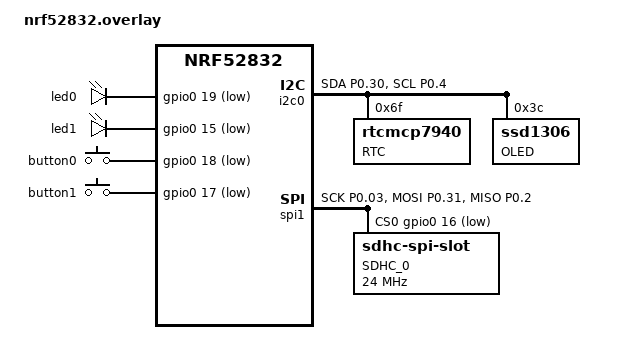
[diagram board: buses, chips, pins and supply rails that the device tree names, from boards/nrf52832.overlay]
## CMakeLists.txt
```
# SPDX-License-Identifier: Apache-2.0

cmake_minimum_required(VERSION 3.20.0)

# Add our modules directory to Zephyr Modules
list(APPEND ZEPHYR_EXTRA_MODULES ${CMAKE_CURRENT_SOURCE_DIR}/modules)


# Set project, dts and board directories
set(PROJ_ROOT ${CMAKE_CURRENT_SOURCE_DIR}/)
set(DTS_ROOT ${CMAKE_CURRENT_SOURCE_DIR}/dts)
set(BOARD_ROOT ${CMAKE_CURRENT_LIST_DIR})


find_package(Zephyr REQUIRED HINTS $ENV{ZEPHYR_BASE})
project(RelaySwitching)

target_sources(app PRIVATE 
src/main.c
src/xmodem.c
src/pray2_tests.c
src/sys_flash.c
src/sd_pray2_io.c
)

# Optionally set include paths that every module can see
target_include_directories(app PRIVATE
    ${CMAKE_CURRENT_SOURCE_DIR})
```

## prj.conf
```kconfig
CONFIG_GPIO=y
CONFIG_LOG=n
CONFIG_I2C=y
CONFIG_CRC=y
CONFIG_SERIAL=y
CONFIG_UART_ASYNC_API=y
CONFIG_UART_INTERRUPT_DRIVEN=y



CONFIG_UART_CONSOLE=n
CONFIG_SHELL=n
CONFIG_MCUMGR_TRANSPORT_UART=n

CONFIG_HEAP_MEM_POOL_SIZE=4096
CONFIG_MAIN_STACK_SIZE=4096



CONFIG_SENSOR=y
CONFIG_CUSTOM_RTCMCP7940=y
CONFIG_CUSTOM_SSD1306=y



# internal Flash
CONFIG_FLASH=y
CONFIG_MPU_ALLOW_FLASH_WRITE=y
CONFIG_SOC_FLASH_NRF_EMULATE_ONE_BYTE_WRITE_ACCESS=y
CONFIG_FCB=y
CONFIG_FLASH_MAP=y
CONFIG_SETTINGS=y
CONFIG_SETTINGS_FCB=y


CONFIG_DISK_ACCESS=y
CONFIG_FILE_SYSTEM=y
CONFIG_FAT_FILESYSTEM_ELM=y
CONFIG_FS_FATFS_MOUNT_MKFS=y
CONFIG_FS_FATFS_EXFAT=y
CONFIG_DISK_DRIVER_SDMMC=y
CONFIG_SPI=y
CONFIG_GPIO=y
```

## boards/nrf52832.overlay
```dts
//&chosen {

//};

/ {
    chosen {
        /delete-property/ zephyr,console;
        /delete-property/ zephyr,shell-uart;
        /delete-property/ zephyr,uart-mcumgr;
        /delete-property/ zephyr,bt-mon-uart;
        /delete-property/ zephyr,bt-c2h-uart;
    };
};



&led0 {
    gpios = <&gpio0 19 GPIO_ACTIVE_LOW>;
};

&led1 {
    gpios = <&gpio0 15 GPIO_ACTIVE_LOW>;
};

&button0 {
    gpios = <&gpio0 18 (GPIO_PULL_UP | GPIO_ACTIVE_LOW)>;
};
&button1 {
    gpios = <&gpio0 17 (GPIO_PULL_UP | GPIO_ACTIVE_LOW)>;
};

&pinctrl {
	custom_spi: custom_spi {
		group1 {
		psels = <NRF_PSEL(SPIM_SCK, 0, 03)>,
				<NRF_PSEL(SPIM_MOSI, 0, 31)>,
				<NRF_PSEL(SPIM_MISO, 0, 2)>;
		};
	};


    i2c0_default: i2c0_default {
        group1 {
            psels = <NRF_PSEL(TWIM_SDA, 0, 30)>,
                    <NRF_PSEL(TWIM_SCL, 0, 4)>;
        };
    };

    i2c0_sleep: i2c0_sleep {
        group1 {
            psels = <NRF_PSEL(TWIM_SDA,  0, 30)>, // GPIO P1.2
            <NRF_PSEL(TWIM_SCL, 0, 4)>;    // GPIO P1.3
            low-power-enable;
        };
    };


    uart0_default: uart0_default {
        group1 {
            psels = <NRF_PSEL(UART_TX, 0, 20)>,
                    <NRF_PSEL(UART_RX, 0, 14)>,
                    <NRF_PSEL(UART_RTS, 0, 5)>,
                    <NRF_PSEL(UART_CTS, 0, 7)>;
        };
    };

    uart0_sleep: uart0_sleep {
        group1 {
            psels = <NRF_PSEL(UART_TX, 0, 20)>,
                    <NRF_PSEL(UART_RX, 0, 14)>,
                    <NRF_PSEL(UART_RTS, 0, 5)>,
                    <NRF_PSEL(UART_CTS, 0, 7)>;
            low-power-enable;
        };
    };
};



&i2c0 {
    compatible = "nordic,nrf-twi";
    status = "okay";
    pinctrl-0 = <&i2c0_default>;
    pinctrl-1 = <&i2c0_sleep>;
    pinctrl-names = "default", "sleep";


    rtcmcp7940@6F {
        compatible = "zephyr,rtcmcp7940";
        reg = <0x6F>;
        label = "RTC";
    };

    ssd1306@3C {
        compatible = "zephyr,ssd1306";
        reg = <0x3C>;
        label = "OLED";
    };
};



&spi1 {
	status = "okay";
	cs-gpios = <&gpio0 16 GPIO_ACTIVE_LOW>;
        pinctrl-0 = <&custom_spi>;
        pinctrl-1 = <&custom_spi>;

	sdhc0: sdhc@0 {
		compatible = "zephyr,sdhc-spi-slot";
		reg = <0>;
		status = "okay";
		label = "SDHC_0";
		mmc {
			compatible = "zephyr,sdmmc-disk";
			disk-name = "SD";
			status = "okay";
		};
		spi-max-frequency = <24000000>;
	};

};
```

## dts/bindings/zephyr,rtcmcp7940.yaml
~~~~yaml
# @file rtcmcp7940.yaml
# @brief Device tree binding for Microchip MCP7940 I2C-based RTC.
#
# This binding file defines the configuration for the Microchip MCP7940
# real-time clock (RTC) connected via I2C. It specifies the compatible
# string and includes references to standard I2C device bindings.
#
# @compatible zephyr,rtcmcp7940
# @include i2c-device.yaml
#
# @details
# The MCP7940 RTC binding allows for configuration of its interrupt GPIO pin
# for alarm notifications. The binding leverages the Zephyr I2C framework to
# communicate with the RTC over the I2C bus.
#
# Example Usage:
# ```dts
# rtcmcp7940@6F {
#     compatible = "zephyr,rtcmcp7940";
#     reg = <0x6F>;
#     label = "RTC";
#     int-gpios = <&gpio0 15 GPIO_ACTIVE_LOW>;
# };
# ```
#
# @note Ensure that the I2C bus is enabled in the device tree and the
#       MCP7940 is connected with the appropriate interrupt GPIO configured.
#
# @author Haseeb Zaib
# @contact hzaib76@gmail.com
# @date 2024-12-19


description: Microchip I2C based RTC 

compatible: "zephyr,rtcmcp7940"

include: [ i2c-device.yaml ]


properties: 
  int-gpios:
    type: phandle-array
    description: |
      Host input connect to MCP7940 MFP open drain output pin
      
      Notifies when an alarm has triggered by asserting this line
~~~~

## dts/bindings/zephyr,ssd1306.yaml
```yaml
description: Microchip I2C based RTC 

compatible: "zephyr,ssd1306"

include: [ i2c-device.yaml ]
```

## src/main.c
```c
/*
 * Copyright (c) 2016 Intel Corporation
 *
 * SPDX-License-Identifier: Apache-2.0
 */

#include <stdio.h>
#include <zephyr/kernel.h>
#include <zephyr/drivers/i2c.h>
#include <zephyr/drivers/gpio.h>
#include <zephyr/drivers/uart.h>
#include "RTCmcp7940.h"
#include "ssd1306_fonts.h"
#include "ssd1306.h"
#include "xmodem.h"
#include "sys_flash.h"
#include "pray2_reader.h"
#include "sd_pray2_io.h"
#include <stdbool.h>
#include <stddef.h>
#include <string.h>
#include <ctype.h>
#include <stdint.h>
#include <zephyr/logging/log.h>
LOG_MODULE_REGISTER(app);

extern void run_pray2_tests(void);

/* 1000 msec = 1 sec */
#define SLEEP_TIME_MS 1000

/* The devicetree node identifier for the "led0" alias. */
#define LED0_NODE DT_ALIAS(led0)
/* The devicetree node identifier for the "led0" alias. */
#define LED1_NODE DT_ALIAS(led1)

/* The devicetree node identifier for the "led0" alias. */
#define button1_NODE DT_ALIAS(sw0)
/* The devicetree node identifier for the "led0" alias. */
#define button2_NODE DT_ALIAS(sw1)

/*
 * A build error on this line means your board is unsupported.
 * See the sample documentation for information on how to fix this.
 */
static const struct gpio_dt_spec led = GPIO_DT_SPEC_GET(LED0_NODE, gpios);
static const struct gpio_dt_spec relay = GPIO_DT_SPEC_GET(LED1_NODE, gpios);

static const struct gpio_dt_spec auto_btn = GPIO_DT_SPEC_GET(button1_NODE, gpios);
static const struct gpio_dt_spec manual_btn = GPIO_DT_SPEC_GET(button2_NODE, gpios);

const struct device *uart = DEVICE_DT_GET(DT_NODELABEL(uart0));

const struct device *RTC_MCP;
const struct device *SSD1306;

char buffer[50];
char timebuff[50];
char datebuff[50];

char TxBuffer[100];
char RxBuffer[100];
uint8_t DataBuffer[4 * 1024];
uint8_t DataBuffer_HEX[10];
uint16_t DataBufferTotalSize = sizeof(DataBuffer);
size_t DataBufferTotalSize_ = 0;
char *RxBufferP;
uint32_t RxBufferCounter = 0;
uint32_t RxBufferSize = 0;
uint8_t data = 1;

K_MSGQ_DEFINE(uart_msgq, 1, 10, 4);

#define TIME_STR_LEN 9 /* "HH:MM:SS" + '\0' */
#define DATE_STR_LEN 9 /* "DD/MM/YY" + '\0' */

pray2_sched_t sched;

uint8_t trigger_relay = 0;
uint32_t relay_start_time = 0;
uint32_t relay_timeout_set = 5000;

uint8_t auto_relay_once = 0;
uint8_t manual_auto_config = 0; // manual = 0 auto = 1

const unsigned char startup_image_[] = {
	// 'WhatsApp Image 2025-04-28 at 16, 128x64px
	0xff, 0xff, 0xff, 0xff, 0xff, 0xff, 0xff, 0xff, 0xff, 0xff, 0xff, 0xff, 0xff, 0xff, 0xff, 0xff,
	0xff, 0xff, 0xff, 0xff, 0xff, 0xff, 0xff, 0xff, 0xff, 0xff, 0xff, 0xff, 0xff, 0xff, 0xff, 0xff,
	0xff, 0xff, 0xff, 0xff, 0xff, 0xff, 0xff, 0xff, 0xff, 0xff, 0xff, 0xff, 0xff, 0xff, 0xff, 0xff,
	0x00, 0x00, 0x00, 0x00, 0x00, 0x00, 0x00, 0x00, 0x00, 0x00, 0x00, 0x00, 0x00, 0x00, 0x00, 0x00,
	0x00, 0x00, 0x00, 0x00, 0x00, 0x00, 0x00, 0x00, 0x00, 0x00, 0x00, 0x00, 0x00, 0x00, 0x00, 0x00,
	0x00, 0x00, 0x00, 0x00, 0x00, 0x00, 0x00, 0x00, 0x00, 0x00, 0x00, 0x00, 0x00, 0x00, 0x00, 0x00,
	0x00, 0x00, 0x00, 0x00, 0x00, 0x00, 0x00, 0x00, 0x00, 0x00, 0x00, 0x00, 0x00, 0x00, 0x00, 0x00,
	0x00, 0x00, 0x00, 0x00, 0x00, 0x00, 0x00, 0x00, 0x00, 0x00, 0x00, 0x00, 0x00, 0x00, 0x00, 0x00,
	0x00, 0x00, 0x00, 0x00, 0x00, 0x00, 0x00, 0x00, 0x00, 0x00, 0x00, 0x00, 0x00, 0x00, 0x00, 0x00,
	0x00, 0x00, 0x00, 0x00, 0x00, 0x00, 0x00, 0x00, 0x00, 0x00, 0x00, 0x00, 0x00, 0x00, 0x00, 0x00,
	0x00, 0x00, 0x00, 0x00, 0x00, 0x00, 0x00, 0x00, 0x00, 0x00, 0x00, 0x00, 0x00, 0x00, 0x00, 0x00,
	0x00, 0x00, 0x00, 0x00, 0x00, 0x00, 0x00, 0x00, 0x00, 0x00, 0x00, 0x00, 0x00, 0x00, 0x00, 0x00,
	0x00, 0x00, 0x00, 0x00, 0x00, 0x00, 0x00, 0x00, 0x00, 0x00, 0x00, 0x03, 0xff, 0x80, 0x00, 0x00,
	0x00, 0x03, 0xff, 0xff, 0xfe, 0x03, 0xff, 0xff, 0x00, 0x00, 0x00, 0x0f, 0xff, 0xf0, 0x00, 0x00,
	0x00, 0x03, 0xff, 0xff, 0xff, 0x07, 0xff, 0xff, 0xf0, 0x00, 0x00, 0x3f, 0xff, 0xfc, 0x00, 0x00,
	0x00, 0x03, 0xff, 0xff, 0xff, 0x07, 0xff, 0xff, 0xfc, 0x00, 0x00, 0xff, 0xff, 0xfe, 0x00, 0x00,
	0x00, 0x03, 0xff, 0xff, 0xff, 0x07, 0xff, 0xff, 0xff, 0x00, 0x01, 0xff, 0xff, 0xff, 0x80, 0x00,
	0x00, 0x03, 0xff, 0xff, 0xff, 0x07, 0xff, 0xff, 0xff, 0x80, 0x03, 0xff, 0xff, 0xff, 0xc0, 0x00,
	0x00, 0x03, 0xff, 0xff, 0xff, 0x07, 0xff, 0xff, 0xff, 0xc0, 0x07, 0xff, 0xff, 0xff, 0xc0, 0x00,
	0x00, 0x03, 0xff, 0xff, 0xff, 0x07, 0xff, 0xff, 0xff, 0xe0, 0x0f, 0xff, 0xff, 0xff, 0xc0, 0x00,
	0x00, 0x03, 0xff, 0xff, 0xff, 0x07, 0xff, 0xff, 0xff, 0xe0, 0x0f, 0xff, 0xff, 0xff, 0x80, 0x00,
	0x00, 0x03, 0xff, 0xff, 0xff, 0x07, 0xff, 0xff, 0xff, 0xf0, 0x1f, 0xff, 0xe3, 0xff, 0x00, 0x00,
	0x00, 0x03, 0xff, 0xc0, 0x00, 0x07, 0xff, 0xff, 0xff, 0xf0, 0x1f, 0xff, 0x00, 0x7e, 0x00, 0x00,
	0x00, 0x03, 0xff, 0x80, 0x00, 0x07, 0xff, 0x00, 0xff, 0xf0, 0x3f, 0xfe, 0x00, 0x3c, 0x00, 0x00,
	0x00, 0x03, 0xff, 0x80, 0x00, 0x07, 0xff, 0x80, 0x7f, 0xf8, 0x3f, 0xfc, 0x00, 0x18, 0x00, 0x00,
	0x00, 0x03, 0xff, 0x80, 0x00, 0x07, 0xff, 0x80, 0x7f, 0xf8, 0x3f, 0xf8, 0x00, 0x00, 0x00, 0x00,
	0x00, 0x03, 0xff, 0x80, 0x00, 0x07, 0xff, 0x80, 0x7f, 0xf8, 0x3f, 0xf8, 0x00, 0x00, 0x00, 0x00,
	0x00, 0x03, 0xff, 0xff, 0xfe, 0x07, 0xff, 0x80, 0x7f, 0xf8, 0x7f, 0xf8, 0x00, 0x00, 0x00, 0x00,
	0x00, 0x03, 0xff, 0xff, 0xfe, 0x07, 0xff, 0x80, 0x7f, 0xf8, 0x7f, 0xf0, 0x00, 0x00, 0x00, 0x00,
	0x00, 0x03, 0xff, 0xff, 0xfe, 0x07, 0xff, 0x80, 0x7f, 0xf0, 0x7f, 0xc0, 0x00, 0x00, 0x00, 0x00,
	0x00, 0x03, 0xff, 0xff, 0xfe, 0x07, 0xff, 0x81, 0xff, 0xf0, 0x7f, 0x00, 0x00, 0x00, 0x00, 0x00,
	0x00, 0x03, 0xff, 0xff, 0xfe, 0x07, 0xff, 0xff, 0xff, 0xf0, 0x7c, 0x00, 0x00, 0x00, 0x00, 0x00,
	0x00, 0x03, 0xff, 0xff, 0xfe, 0x07, 0xff, 0xff, 0xff, 0xf0, 0x70, 0x00, 0x00, 0x00, 0x00, 0x00,
	0x00, 0x03, 0xff, 0xff, 0xfe, 0x07, 0xff, 0xff, 0xff, 0xe0, 0x00, 0x00, 0x00, 0x00, 0x00, 0x00,
	0x00, 0x03, 0xff, 0xff, 0xfe, 0x07, 0xff, 0xff, 0xff, 0xe0, 0x00, 0x00, 0x00, 0x00, 0x00, 0x00,
	0x00, 0x03, 0xff, 0x80, 0x00, 0x07, 0xff, 0xff, 0xff, 0xc0, 0x00, 0x00, 0x00, 0x00, 0x00, 0x00,
	0x00, 0x03, 0xff, 0x80, 0x00, 0x07, 0xff, 0xff, 0xff, 0x80, 0x00, 0x80, 0x00, 0x18, 0x00, 0x00,
	0x00, 0x03, 0xff, 0x80, 0x00, 0x07, 0xff, 0xff, 0xff, 0x00, 0x07, 0x80, 0x00, 0x3c, 0x00, 0x00,
	0x00, 0x03, 0xff, 0x80, 0x00, 0x07, 0xff, 0xff, 0xfc, 0x00, 0x1f, 0x81, 0x00, 0xfe, 0x00, 0x00,
	0x00, 0x03, 0xff, 0x80, 0x00, 0x07, 0xff, 0xff, 0xf0, 0x00, 0x1f, 0x87, 0xe3, 0xff, 0x00, 0x00,
	0x00, 0x03, 0xff, 0xff, 0xff, 0x07, 0xff, 0x80, 0x00, 0x00, 0x0f, 0x1f, 0xff, 0xff, 0x80, 0x00,
	0x00, 0x03, 0xff, 0xff, 0xff, 0x07, 0xff, 0x00, 0x00, 0x00, 0x07, 0xff, 0xff, 0xff, 0xc0, 0x00,
	0x00, 0x03, 0xff, 0xff, 0xff, 0x07, 0xff, 0x80, 0x00, 0x00, 0x07, 0xff, 0xff, 0xff, 0xc0, 0x00,
	0x00, 0x03, 0xff, 0xff, 0xff, 0x07, 0xff, 0x80, 0x00, 0x00, 0x03, 0xff, 0xff, 0xff, 0x80, 0x00,
	0x00, 0x03, 0xff, 0xff, 0xff, 0x07, 0xff, 0x80, 0x00, 0x00, 0x01, 0xff, 0xff, 0xff, 0x00, 0x00,
	0x00, 0x03, 0xff, 0xff, 0xff, 0x07, 0xff, 0x80, 0x00, 0x00, 0x00, 0xff, 0xff, 0xfe, 0x00, 0x00,
	0x00, 0x03, 0xff, 0xff, 0xff, 0x07, 0xff, 0x80, 0x00, 0x00, 0x00, 0x3f, 0xff, 0xfc, 0x00, 0x00,
	0x00, 0x03, 0xff, 0xff, 0xff, 0x07, 0xff, 0x80, 0x00, 0x00, 0x00, 0x0f, 0xff, 0xf0, 0x00, 0x00,
	0x00, 0x03, 0xff, 0xff, 0xff, 0x07, 0xff, 0x80, 0x00, 0x00, 0x00, 0x01, 0xff, 0x80, 0x00, 0x00,
	0x00, 0x00, 0x00, 0x00, 0x00, 0x00, 0x00, 0x00, 0x00, 0x00, 0x00, 0x00, 0x00, 0x00, 0x00, 0x00,
	0x00, 0x00, 0x00, 0x00, 0x00, 0x00, 0x00, 0x00, 0x00, 0x00, 0x00, 0x00, 0x00, 0x00, 0x00, 0x00,
	0x00, 0x00, 0x00, 0x00, 0x00, 0x00, 0x00, 0x00, 0x00, 0x00, 0x00, 0x00, 0x00, 0x00, 0x00, 0x00,
	0x00, 0x00, 0x00, 0x00, 0x00, 0x00, 0x00, 0x00, 0x00, 0x00, 0x00, 0x00, 0x00, 0x00, 0x00, 0x00,
	0x00, 0x00, 0x00, 0x00, 0x00, 0x00, 0x00, 0x00, 0x00, 0x00, 0x00, 0x00, 0x00, 0x00, 0x00, 0x00,
	0x00, 0x00, 0x00, 0x00, 0x00, 0x00, 0x00, 0x00, 0x00, 0x00, 0x00, 0x00, 0x00, 0x00, 0x00, 0x00,
	0x00, 0x00, 0x00, 0x00, 0x00, 0x00, 0x00, 0x00, 0x00, 0x00, 0x00, 0x00, 0x00, 0x00, 0x00, 0x00,
	0x00, 0x00, 0x00, 0x00, 0x00, 0x00, 0x00, 0x00, 0x00, 0x00, 0x00, 0x00, 0x00, 0x00, 0x00, 0x00,
	0x00, 0x00, 0x00, 0x00, 0x00, 0x00, 0x00, 0x00, 0x00, 0x00, 0x00, 0x00, 0x00, 0x00, 0x00, 0x00,
	0x00, 0x00, 0x00, 0x00, 0x00, 0x00, 0x00, 0x00, 0x00, 0x00, 0x00, 0x00, 0x00, 0x00, 0x00, 0x00,
	0x00, 0x00, 0x00, 0x00, 0x00, 0x00, 0x00, 0x00, 0x00, 0x00, 0x00, 0x00, 0x00, 0x00, 0x00, 0x00,
	0xff, 0xff, 0xff, 0xff, 0xff, 0xff, 0xff, 0xff, 0xff, 0xff, 0xff, 0xff, 0xff, 0xff, 0xff, 0xff,
	0xff, 0xff, 0xff, 0xff, 0xff, 0xff, 0xff, 0xff, 0xff, 0xff, 0xff, 0xff, 0xff, 0xff, 0xff, 0xff,
	0xff, 0xff, 0xff, 0xff, 0xff, 0xff, 0xff, 0xff, 0xff, 0xff, 0xff, 0xff, 0xff, 0xff, 0xff, 0xff,
	0xff, 0xff, 0xff, 0xff, 0xff, 0xff, 0xff, 0xff, 0xff, 0xff, 0xff, 0xff, 0xff, 0xff, 0xff, 0xff};

void ledfasttoggle(uint8_t toggling)
{
	for (int i = 0; i < toggling; i++)
	{

		gpio_pin_toggle_dt(&led);

		k_msleep(10);
	}
}

void ledfasttoggle_with_speed(uint8_t toggling, uint16_t togglingspeed)
{
	for (int i = 0; i < toggling; i++)
	{

		gpio_pin_toggle_dt(&led);

		k_msleep(togglingspeed);
	}
}

void print_uart(char *buf)
{
	int msg_len = strlen(buf);

	for (int i = 0; i < msg_len; i++)
	{
		uart_poll_out(uart, buf[i]);
	}
}

void print_dataBuffer(uint8_t *buf)
{
	for (int i = 0; i < 4096; i++)
	{
		uart_poll_out(uart, buf[i]);
	}
}

void handle_new_pray2_file(void)
{
	pray2_header_t H;
	pray2_status_t st = pray2_validate_and_parse_no_crc(DataBuffer, DataBufferTotalSize, &H);
	if (st != PRAY2_OK)
	{
		print_uart("\r\nError in bin file\r\n");
		return;
	}

	// If one-shot flag is set, set RTC and then clear the flag in the stored blob
	if (H.flags & PRAY2_FLAG_RTC_ONE_SHOT)
	{
		int hh, mm, ss, DD, MMh, YYYY;
		if (pray2_parse_rtc_ascii(H.rtc_ascii, &hh, &mm, &ss, &DD, &MMh, &YYYY))
		{
			sprintf(buffer, "%02d:%02d:%02d|%02d/%02d/%02d", hh, mm, ss, DD, MMh, YYYY % 100);
			print_uart(buffer);
			RTCmcp7940_set_datetime(RTC_MCP, buffer);

			// Clear the one-shot flag in the stored header byte (offset 14)
			DataBuffer[14] = (uint8_t)(DataBuffer[14] & ~(PRAY2_FLAG_RTC_ONE_SHOT));
			H.flags &= ~(PRAY2_FLAG_RTC_ONE_SHOT);
			print_uart("\r\nRTC set from file (one-shot). Flag cleared.\r\n");
		}
		else
		{
			print_uart("\r\nRTC parse failed; skipping RTC set.\r\n");
		}
	}
	else
	{
		print_uart("\r\nRTC one-shot flag not set; leaving RTC unchanged.\r\n");
	}

	// Read RTC back and init scheduler with the actual device time
	RTCmcp7940_get_datetime(RTC_MCP, buffer); // "HH:MM:SS|DD/MM/YY"
	bool ok = pray2_sched_init_from_ram(&sched, DataBuffer, DataBufferTotalSize, buffer);

	if (ok)
	{
		print_uart("\r\nPray2 Init success\r\n");
		int hh2, mm2, ss2, DD2, MM2, YYYY2;
		if (pray2_parse_rtc_ascii(buffer, &hh2, &mm2, &ss2, &DD2, &MM2, &YYYY2))
		{
			debug_print_month_any_year(DataBuffer, DataBufferTotalSize, MM2);
			// sys_flash_write(0, DataBuffer, sizeof(DataBuffer));
		}
	}
	else
	{
		print_uart("\r\nPray2 Init failed (date out of span or parse error)\r\n");
	}
}

void serial_cb(const struct device *dev, void *user_data)
{
	uint8_t c;

	if (!uart_irq_update(uart))
	{
		return;
	}

	if (!uart_irq_rx_ready(uart))
	{
		return;
	}

	/* read until FIFO empty */
	while (uart_fifo_read(uart, &c, 1) == 1)
	{
		RxBufferP[RxBufferCounter] = c;
		/* else: characters beyond buffer size are dropped */
		RxBufferCounter++;
		if (RxBufferCounter >= RxBufferSize)
		{
			//   RxBufferCounter = 0;
			k_msgq_put(&uart_msgq, &data, K_NO_WAIT);
		}
	}
}

static void APPuart_init()
{
	if (!device_is_ready(uart))
	{
		printk("UART device not ready\n");
		return;
	}
	uart_irq_callback_user_data_set(uart, serial_cb, NULL);
	uart_irq_rx_enable(uart);

	sprintf(TxBuffer, "System Started......\r\n");
	print_uart(TxBuffer);
	// K_MSEC
	// uart_rx_enable();
}

static uint8_t APPuart_rx(uint8_t *buf, uint16_t size, uint32_t timeout)
{
	// uart_rx_enable(uart,RxBuffer,5,SYS_FOREVER_MS);
	RxBufferCounter = 0;
	RxBufferP = buf;
	RxBufferSize = size;

	if (k_msgq_get(&uart_msgq, &data, K_MSEC(timeout)) == 0)
	{
		return 0;
	}

	return 0xFF;
}

static uint8_t APPuart_tx(uint8_t byte, uint32_t timeout)
{
	uart_poll_out(uart, byte);
	// k_msleep(timeout);

	return 0;
}

static void APPuart_process()
{
	APPuart_rx(RxBuffer, 1, 1000);
	// print_uart(RxBuffer);
	// print_uart("\n");

	// k_msleep(1000);

	if (RxBuffer[0] == 'f')
	{

		xmodem_receive(DataBuffer, APPuart_rx, APPuart_tx);
		print_uart("\r\n");
		print_uart("\r\n");
		//  for (int i = 0; i < 3968; i++) {
		// 	sprintf(DataBuffer_HEX,"%02x ",DataBuffer[i]);
		// 	print_uart(DataBuffer_HEX);
		// }

		sprintf(DataBuffer_HEX, "%ld ", DataBufferTotalSize);
		print_uart(DataBuffer_HEX);
		handle_new_pray2_file();
		RxBuffer[0] = '\0';

		char saved_path[128];
		int rc = sd_store_pray2_from_ram("/SD:", DataBuffer, DataBufferTotalSize,
										 saved_path, sizeof(saved_path));
		char msg[200];
		if (rc == 0)
		{
			snprintf(msg, sizeof(msg), "Saved PRAY2 to %s (%u bytes)\r\n",
					 saved_path, (unsigned)DataBufferTotalSize);
		}
		else if (rc == -EEXIST)
		{
			snprintf(msg, sizeof(msg),
					 "Error: multiple .bin files present on SD. Keep only one.\r\n");
		}
		else
		{
			snprintf(msg, sizeof(msg), "Save failed (rc=%d)\r\n", rc);
		}
		print_uart(msg);
	}
}

/* --- internal validators --- */
static bool valid_time_hms(const char *s, size_t len)
{
	if (len != 8)
		return false; /* HH:MM:SS */
	if (!isdigit((unsigned char)s[0]) || !isdigit((unsigned char)s[1]) ||
		s[2] != ':' ||
		!isdigit((unsigned char)s[3]) || !isdigit((unsigned char)s[4]) ||
		s[5] != ':' ||
		!isdigit((unsigned char)s[6]) || !isdigit((unsigned char)s[7]))
		return false;

	int H = (s[0] - '0') * 10 + (s[1] - '0');
	int M = (s[3] - '0') * 10 + (s[4] - '0');
	int S = (s[6] - '0') * 10 + (s[7] - '0');
	return (H >= 0 && H <= 23) && (M >= 0 && M <= 59) && (S >= 0 && S <= 59);
}

static bool valid_date_dmy(const char *s, size_t len)
{
	if (len != 8)
		return false; /* DD/MM/YY */
	if (!isdigit((unsigned char)s[0]) || !isdigit((unsigned char)s[1]) ||
		s[2] != '/' ||
		!isdigit((unsigned char)s[3]) || !isdigit((unsigned char)s[4]) ||
		s[5] != '/' ||
		!isdigit((unsigned char)s[6]) || !isdigit((unsigned char)s[7]))
		return false;

	int D = (s[0] - '0') * 10 + (s[1] - '0');
	int M = (s[3] - '0') * 10 + (s[4] - '0');
	int Y = (s[6] - '0') * 10 + (s[7] - '0'); /* 00..99 */
	(void)Y;								  /* keep it simple here; adjust to full year if you want */
	return (D >= 1 && D <= 31) && (M >= 1 && M <= 12);
}

/* --- main helper --- */
bool split_timestamp_HHMMSS_bar_DDMMYY(const char *in,
									   char *time_out, size_t time_out_sz,
									   char *date_out, size_t date_out_sz)
{
	if (!in || !time_out || !date_out)
		return false;
	if (time_out_sz < TIME_STR_LEN || date_out_sz < DATE_STR_LEN)
		return false;

	const char *bar = strchr(in, '|');
	if (!bar)
		return false;

	size_t tlen = (size_t)(bar - in);
	const char *date_ptr = bar + 1;
	size_t dlen = strlen(date_ptr);

	if (!valid_time_hms(in, tlen))
		return false;
	if (!valid_date_dmy(date_ptr, dlen))
		return false;

	memcpy(time_out, in, tlen);
	time_out[tlen] = '\0';

	memcpy(date_out, date_ptr, dlen);
	date_out[dlen] = '\0';

	return true;
}

char outputBuffersdcardprint[255];
void load_pray2_from_sd_and_init(void)
{
	char bin_path[128];
	int rc = sd_find_single_bin("/SD:", bin_path, sizeof(bin_path));
	if (rc)
	{
		sprintf(outputBuffersdcardprint, "No single .bin on SD (rc=%d)\r\n", rc);
		print_uart(outputBuffersdcardprint);

		ledfasttoggle_with_speed(10, 200);

		return;
	}

	sprintf(outputBuffersdcardprint, "\r\n%s\r\n", bin_path);

	print_uart(outputBuffersdcardprint);

	rc = sd_load_entire_file(bin_path, DataBuffer, sizeof(DataBuffer), &DataBufferTotalSize_);
	if (rc)
	{

		sprintf(outputBuffersdcardprint, "Read failed (rc=%d)\r\n", rc);
		print_uart(outputBuffersdcardprint);
		ledfasttoggle_with_speed(10, 200);
		return;
	}

	// Parse + handle one-shot inside your existing handler
	handle_new_pray2_file(); // this sets RTC if needed and clears DataBuffer[14]

	// Persist the cleared flag back to SD (so it remains cleared next boot)
	(void)sd_clear_oneshot_flag_in_file(bin_path);

	ledfasttoggle_with_speed(5, 200);
}

int main(void)
{
	int ret;
	bool led_state = true;

	// sys_flash_init();

	// sys_flash_read(0, DataBuffer, sizeof(DataBuffer));

	mount_sd_card();

	if (!gpio_is_ready_dt(&led))
	{
		return 0;
	}

	if (!gpio_is_ready_dt(&relay))
	{
		return 0;
	}

	if (!gpio_is_ready_dt(&auto_btn))
	{
		return 0;
	}

	if (!gpio_is_ready_dt(&manual_btn))
	{
		return 0;
	}

	ret = gpio_pin_configure_dt(&led, GPIO_OUTPUT_ACTIVE);
	if (ret < 0)
	{
		return 0;
	}

	ret = gpio_pin_configure_dt(&relay, GPIO_OUTPUT_ACTIVE);
	if (ret < 0)
	{
		return 0;
	}

	ret = gpio_pin_configure_dt(&auto_btn, GPIO_INPUT);
	if (ret < 0)
	{
		return 0;
	}

	ret = gpio_pin_configure_dt(&manual_btn, GPIO_INPUT);
	if (ret < 0)
	{
		return 0;
	}

	RTC_MCP = DEVICE_DT_GET_ONE(zephyr_rtcmcp7940);
	if (!device_is_ready(RTC_MCP))
	{
		LOG_ERR("RTC device not ready or not found");
	}

	SSD1306 = DEVICE_DT_GET_ONE(zephyr_ssd1306);
	if (!device_is_ready(SSD1306))
	{
		LOG_ERR("ssd1306 device not ready or not found");
	}

	ssd1306_DrawBitmap(SSD1306, 0, 0, startup_image_, 128, 64, White);
	ssd1306_UpdateScreen(SSD1306);
	k_msleep(3000);

	APPuart_init();

	/*
		RTCmcp7940_get_datetime(RTC_MCP, buffer);
		bool ok = pray2_sched_init_from_ram(&sched, DataBuffer, sizeof(DataBuffer), buffer);

		if (ok == true)
		{
			print_uart("\r\nPray2 Init success\r\n\r\n");
			int hh2, mm2, ss2, DD2, MM2, YYYY2;
			if (pray2_parse_rtc_ascii(buffer, &hh2, &mm2, &ss2, &DD2, &MM2, &YYYY2))
			{
				debug_print_month_any_year(DataBuffer, sizeof(DataBuffer), MM2);
			}
		}
		else
		{
			print_uart("\r\nPray2 Init failed\r\n");
		}
			*/

	load_pray2_from_sd_and_init();

	while (1)
	{

		manual_auto_config = gpio_pin_get_dt(&auto_btn);

		if (!manual_auto_config)
		{ /*Auto*/
			// gpio_pin_set(led.port, led.pin, 1);
			if (!auto_relay_once)
			{
				print_uart("auto config");
				auto_relay_once = 1;
				gpio_pin_set(relay.port, relay.pin, 1);
			}
		}
		else
		{ /*Manual*/

			// gpio_pin_set(led.port, led.pin, 0);
			auto_relay_once = 0;
			gpio_pin_set(relay.port, relay.pin, 0);
		}

		APPuart_process();

		RTCmcp7940_get_datetime(RTC_MCP, buffer);

		split_timestamp_HHMMSS_bar_DDMMYY(buffer, timebuff, sizeof(timebuff), datebuff, sizeof(datebuff));
		gpio_pin_toggle_dt(&led);
		int prayer;
		uint16_t onsec;
		if (pray2_sched_tick(&sched, buffer, &prayer, &onsec) && !manual_auto_config)
		{
			// prayer: 0=Fajr, 1=Dhuhr, 2=Asr, 3=Maghrib, 4=Isha
			gpio_pin_set(relay.port, relay.pin, 0);
			trigger_relay = 1;
			relay_start_time = k_uptime_get_32();

			char line[96];
			static const char *name[5] = {"Fajr", "Dhuhr", "Asr", "Maghrib", "Isha"};
			snprintf(line, sizeof(line), "Relay ON: %s for %us\r\n", name[prayer], (unsigned)onsec);
			print_uart(line);
		}

		if (trigger_relay)
		{
			if (k_uptime_get_32() - relay_start_time >= relay_timeout_set)
			{
				gpio_pin_set(relay.port, relay.pin, 1);
				trigger_relay = 0;
			}
		}

		ssd1306_Fill(SSD1306, Black);
		ssd1306_SetCursor(SSD1306, 0, 0);
		ssd1306_WriteString(SSD1306, timebuff, Font_16x24, White);
		ssd1306_SetCursor(SSD1306, 0, 34);
		ssd1306_WriteString(SSD1306, datebuff, Font_16x24, White);
		ssd1306_UpdateScreen(SSD1306);
	}
	return 0;
}
```

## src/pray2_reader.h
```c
// pray2_sched.h — PRAY2 v2 (no-CRC) parser + 1 Hz scheduler
// C99, little-endian safe, header-only. Public domain / MIT-style.

#ifndef PRAY2_SCHED_H
#define PRAY2_SCHED_H

#include <stdint.h>
#include <stddef.h>
#include <stdbool.h>
#include <string.h>


extern void print_uart(char *buf);

extern const struct device *RTC_MCP;

// ====== PRAY2 v2 header spec (64 bytes) ======
//  0  char[5]  magic = "PRAY2"
//  5  u8       version = 2
//  6  u16      header_size = 64
//  8  u16      year (nominal; start date's year)
// 10  u16      days (count of days in table)
// 12  u8       start_month (1..12)
// 13  u8       start_day   (1..31)
// 14  u8       flags (bit0: per-day durations present; currently 0 in our generator)
// 15  u8       method_code (0..6; informational)
// 16  char[17] rtc_str_local = "HH:MM:SS|DD/MM/YY"  (or "...|DD:MM:YY"; no NUL)
// 33  u8       pad = 0
// 34  u16[5]   default_on_sec (Fajr..Isha) (seconds)
// 44  u32      table_offset
// 48  u32      table_size   (= days*5*2)
// 52  u32      durations_offset (0 if none)
// 56  u32      durations_size   (0 if none)
// 60  u16      reserved1 = 0
// 62  u16      reserved2 = 0
// Then: times table (days × 5 × u16 minutes).  (CRC may be present in file, but ignored here.)

#define PRAY2_HEADER_SIZE 64
#define PRAY2_MAGIC "PRAY2"
#define PRAY2_VERSION 2

#define PRAY2_FLAG_RTC_ONE_SHOT 0x10  // header flags bit4

typedef struct {
    // header fields
    uint16_t year;
    uint16_t days;
    uint8_t  start_month;
    uint8_t  start_day;
    uint8_t  flags;
    uint8_t  method_code;
    char     rtc_ascii[18];       // "HH:MM:SS|DD/MM/YY" or "HH:MM:SS|DD:MM:YY", NUL-terminated
    uint16_t default_on_sec[5];   // seconds
    uint32_t table_offset;
    uint32_t table_size;
    uint32_t durations_offset;
    uint32_t durations_size;
    // derived pointers into the supplied buffer
    const uint8_t* table_ptr;     // not owned
    const uint8_t* durations_ptr; // NULL if not present
} pray2_header_t;

// Little-endian readers (no unaligned casts).
static inline uint16_t pray2_rd_u16le(const uint8_t* p) {
    return (uint16_t)(p[0] | ((uint16_t)p[1] << 8));
}
static inline uint32_t pray2_rd_u32le(const uint8_t* p) {
    return (uint32_t)(p[0] | ((uint32_t)p[1] << 8) | ((uint32_t)p[2] << 16) | ((uint32_t)p[3] << 24));
}


// ---- small date helpers ----
static inline bool is_leap(int y) {
    return ((y % 4) == 0 && (y % 100) != 0) || ((y % 400) == 0);
}
static inline int days_in_month(int y, int m) {
    static const uint8_t dim[12] = {31,28,31,30,31,30,31,31,30,31,30,31};
    if (m == 2) return dim[1] + (is_leap(y) ? 1 : 0);
    return dim[m-1];
}
static inline void advance_one_day(int *y, int *m, int *d) {
    int dim = days_in_month(*y, *m);
    (*d)++;
    if (*d > dim) { *d = 1; (*m)++; if (*m > 12) { *m = 1; (*y)++; } }
}

// Days-from-civil (Hinnant), for robust index math across leap years.
static int64_t pray2_days_from_civil(int y, unsigned m, unsigned d) {
    y -= m <= 2;
    const int era = (y >= 0 ? y : y - 399) / 400;
    const unsigned yoe = (unsigned)(y - era * 400);
    const unsigned doy = (153*(m + (m > 2 ? -3 : 9)) + 2)/5 + d - 1;
    const unsigned doe = yoe * 365 + yoe/4 - yoe/100 + doy;
    return era * 146097 + (int)doe - 719468; // days since 1970-01-01
}
static int pray2_days_between(int y1,int m1,int d1, int y2,int m2,int d2){
    int64_t a = pray2_days_from_civil(y1,(unsigned)m1,(unsigned)d1);
    int64_t b = pray2_days_from_civil(y2,(unsigned)m2,(unsigned)d2);
    int64_t diff = b - a;
    if (diff < -2147483648LL) diff = -2147483648LL;
    if (diff >  2147483647LL) diff =  2147483647LL;
    return (int)diff;
}

// Parse "HH:MM:SS|DD/MM/YY"  (also accepts "DD:MM:YY")
static bool pray2_parse_rtc_ascii(const char* s17,
                                  int* out_h, int* out_m, int* out_s,
                                  int* out_D, int* out_M, int* out_Y_full)
{
    if (!s17) return false;
    // expected positions:  01234567890123456
    //                      HH:MM:SS|DD/MM/YY
    if (!(s17[2]==':' && s17[5]==':' && s17[8]=='|')) return false;
    char sep1 = s17[11], sep2 = s17[14];
    if (!((sep1=='/'||sep1==':') && (sep2=='/'||sep2==':'))) return false;

    int HH = (s17[0]-'0')*10 + (s17[1]-'0');
    int MM = (s17[3]-'0')*10 + (s17[4]-'0');
    int SS = (s17[6]-'0')*10 + (s17[7]-'0');
    int DD = (s17[9]-'0')*10 + (s17[10]-'0');
    int MO = (s17[12]-'0')*10 + (s17[13]-'0');
    int YY = (s17[15]-'0')*10 + (s17[16]-'0');

    if (HH<0||HH>23||MM<0||MM>59||SS<0||SS>59) return false;
    if (MO<1||MO>12||DD<1||DD>31) return false;

    int Y_full = 2000 + YY;  // tweak if you want a different century rule
    if (out_h) *out_h = HH;
    if (out_m) *out_m = MM;
    if (out_s) *out_s = SS;
    if (out_D) *out_D = DD;
    if (out_M) *out_M = MO;
    if (out_Y_full) *out_Y_full = Y_full;
    return true;
}

// ===== Validation without CRC (XMODEM padding tolerated) =====
typedef enum {
    PRAY2_OK = 0,
    PRAY2_ERR_TOO_SMALL,
    PRAY2_ERR_MAGIC,
    PRAY2_ERR_VERSION,
    PRAY2_ERR_HEADER_SIZE,
    PRAY2_ERR_TABLE_RANGE,
    PRAY2_ERR_TABLE_SIZE,
    PRAY2_ERR_DUR_SIZE,
    PRAY2_ERR_DUR_RANGE
} pray2_status_t;

// Validates sizes/ranges, fills header struct & pointers. No CRC used.
static pray2_status_t pray2_validate_and_parse_no_crc(const uint8_t* buf, size_t len, pray2_header_t* out) {
    if (!buf || len < PRAY2_HEADER_SIZE) {
    print_uart("pray2 err: too small");
      
        return PRAY2_ERR_TOO_SMALL;
    
    }
    if (memcmp(buf, PRAY2_MAGIC, 5) != 0) {
       print_uart("pray2 err: magic");
        return PRAY2_ERR_MAGIC;
    }
    if (buf[5] != PRAY2_VERSION) {
      print_uart("pray2 err: version");   
        return PRAY2_ERR_VERSION;
    }
    uint16_t header_size = pray2_rd_u16le(buf + 6);
    if (header_size != PRAY2_HEADER_SIZE) {
      print_uart("pray2 err: header size");
        return PRAY2_ERR_HEADER_SIZE;
    }
    pray2_header_t h;
    h.year        = pray2_rd_u16le(buf + 8);
    h.days        = pray2_rd_u16le(buf + 10);
    h.start_month = buf[12];
    h.start_day   = buf[13];
    h.flags       = buf[14];
    h.method_code = buf[15];
    memcpy(h.rtc_ascii, buf + 16, 17);
    h.rtc_ascii[17] = '\0';

    const uint8_t* p = buf + 34;
    for (int i = 0; i < 5; ++i) h.default_on_sec[i] = pray2_rd_u16le(p + i*2);

    h.table_offset     = pray2_rd_u32le(buf + 44);
    h.table_size       = pray2_rd_u32le(buf + 48);
    h.durations_offset = pray2_rd_u32le(buf + 52);
    h.durations_size   = pray2_rd_u32le(buf + 56);

    // Basic sanity: table must lie within provided buffer (XMODEM padding may make len much larger).
    if (h.table_offset < PRAY2_HEADER_SIZE || h.table_offset > len) {
         print_uart("pray2 err: table_range");
        return PRAY2_ERR_TABLE_RANGE;
    }
    if (h.table_size != (uint32_t)h.days * 5u * 2u) {
       print_uart("pray2 err: table_size");
        return PRAY2_ERR_TABLE_SIZE;
    }
    if ((uint64_t)h.table_offset + (uint64_t)h.table_size > (uint64_t)len) {
         print_uart("pray2 err: table_range");
        return PRAY2_ERR_TABLE_RANGE;
    }
    if (h.flags & 0x01u) {
        if (h.durations_offset == 0 || h.durations_size != (uint32_t)h.days * 5u * 2u)
           {
             print_uart("pray2 err: dur_size");
              return PRAY2_ERR_DUR_SIZE;
           }
        if ((uint64_t)h.durations_offset + (uint64_t)h.durations_size > (uint64_t)len)
            {
                 print_uart("pray2 err: dur_range");
                return PRAY2_ERR_DUR_RANGE;
            }
    } else {
        if (h.durations_offset != 0 || h.durations_size != 0)
            {
                 print_uart("pray2 err: dur_range");
                return PRAY2_ERR_DUR_RANGE;
            }
    }

    h.table_ptr     = buf + h.table_offset;
    h.durations_ptr = (h.flags & 0x01u) ? (buf + h.durations_offset) : NULL;

    if (out) *out = h;
    return PRAY2_OK;
}

// Read one day's 5 times (minutes since local midnight). Returns false if out-of-range.
static bool pray2_get_day_minutes(const pray2_header_t* h, uint16_t day_index, uint16_t out_minutes[5]) {
    if (!h || !h->table_ptr || day_index >= h->days) return false;
    const uint8_t* rec = h->table_ptr + (size_t)day_index * 5u * 2u;
    for (int i = 0; i < 5; ++i) out_minutes[i] = pray2_rd_u16le(rec + i*2);
    return true;
}

// Compute day index (0..days-1) from a local Y/M/D, or -1 if outside span.
static int pray2_compute_day_index(const pray2_header_t* h, int year, int month, int day) {
    if (!h) return -1;
    int delta = pray2_days_between(h->year, h->start_month, h->start_day, year, month, day);
    if (delta < 0 || delta >= (int)h->days) return -1;
    return delta;
}

// ===== Scheduler context =====
typedef struct {
    bool           valid;        // parsed OK
    pray2_header_t H;            // header copy
    int            cur_day_idx;  // -1 if out of range / invalid
    uint16_t       today_min[5]; // Fajr..Isha (minutes since midnight)
    uint8_t        next_cursor;  // 0..5 (next prayer to watch)
    int            prev_min;     // last minutes since midnight (-1 initially)
} pray2_sched_t;

// Initialize scheduler from RAM blob + current RTC string.
// Returns true if valid & in-range; false if file invalid (scheduler will no-op).
static bool pray2_sched_init_from_ram(pray2_sched_t* ctx,
                                      const uint8_t* buf, size_t len,
                                      const char rtc_str17[17])
{
    if (!ctx) return false;
    memset(ctx, 0, sizeof(*ctx));
    ctx->prev_min = -1;

    pray2_status_t st = pray2_validate_and_parse_no_crc(buf, len, &ctx->H);
    if (st != PRAY2_OK) {
        ctx->valid = false;
        ctx->cur_day_idx = -1;
        print_uart("pray2 err: parse\r\n");
        return false;
    }
    ctx->valid = true;

    // If one-shot flag set, set RTC from header ascii and clear the flag in the stored blob.
    if (ctx->H.flags & PRAY2_FLAG_RTC_ONE_SHOT) {
        int hh, mm, ss, DD, MO, YYYY;
        if (pray2_parse_rtc_ascii(ctx->H.rtc_ascii, &hh,&mm,&ss,&DD,&MO,&YYYY)) {
            char setbuf[18];
            // Ensure slash format exactly: "HH:MM:SS|DD/MM/YY"
            snprintf(setbuf, sizeof(setbuf), "%02d:%02d:%02d|%02d/%02d/%02d",
                     hh, mm, ss, DD, MO, YYYY % 100);
            RTCmcp7940_set_datetime(RTC_MCP, setbuf);

            // Clear the flag in the RAM blob (header byte at offset 14)
            ((uint8_t*)buf)[14] = (uint8_t)(((uint8_t*)buf)[14] & ~(PRAY2_FLAG_RTC_ONE_SHOT));
            ctx->H.flags &= ~(PRAY2_FLAG_RTC_ONE_SHOT);

            print_uart("RTC set from file (one-shot) and flag cleared\r\n");
        } else {
            print_uart("pray2 warn: header RTC parse failed; skipping RTC set\r\n");
        }
    }

    // Use the actual RTC for scheduler init.
    char nowrtc[18] = {0};
    RTCmcp7940_get_datetime(RTC_MCP, nowrtc);  // "HH:MM:SS|DD/MM/YY"

    int hh, mm, ss, DD, MO, YYYY;
    if (!pray2_parse_rtc_ascii(nowrtc[0] ? nowrtc : rtc_str17, &hh,&mm,&ss,&DD,&MO,&YYYY)) {
        ctx->cur_day_idx = -1;
        print_uart("pray2 err: RTC ascii\r\n");
        return false;
    }
    const int now_min = hh * 60 + mm;

    const int idx = pray2_compute_day_index(&ctx->H, YYYY, MO, DD);
    ctx->cur_day_idx = idx;
    ctx->next_cursor = 5; // default (no upcoming)

    if (idx >= 0) {
        if (pray2_get_day_minutes(&ctx->H, (uint16_t)idx, ctx->today_min)) {
            // Choose the first prayer >= now
            uint8_t nc = 5;
            for (uint8_t i = 0; i < 5; ++i) {
                if ((int)ctx->today_min[i] >= now_min) { nc = i; break; }
            }
            ctx->next_cursor = nc;
        }
    }

    char localbuf[40];
    snprintf(localbuf, sizeof(localbuf), "pray2 IDX: %d\r\n", idx);
    print_uart(localbuf);

    ctx->prev_min = now_min;
    return (idx >= 0);
}

// 1 Hz tick. Returns true only when a prayer should fire *now*.
// On fire: *out_prayer is 0..4 (Fajr..Isha), *out_on_sec from header default_on_sec[*].
static bool pray2_sched_tick(pray2_sched_t* ctx,
                             const char rtc_str17[17],
                             int* out_prayer, uint16_t* out_on_sec)
{
    if (!ctx || !ctx->valid) return false;

    int hh, mm, ss, DD, MO, YYYY;
    if (!pray2_parse_rtc_ascii(rtc_str17, &hh,&mm,&ss,&DD,&MO,&YYYY)) return false;
    const int now_min = hh*60 + mm;

    // Day change?
    int idx = pray2_compute_day_index(&ctx->H, YYYY, MO, DD);
    if (idx != ctx->cur_day_idx) {
        ctx->cur_day_idx = idx;
        ctx->next_cursor = 5;
        if (idx >= 0 && pray2_get_day_minutes(&ctx->H, (uint16_t)idx, ctx->today_min)) {
            uint8_t nc = 5;
            for (uint8_t i = 0; i < 5; ++i) {
                if ((int)ctx->today_min[i] >= now_min) { nc = i; break; }
            }
            ctx->next_cursor = nc;
        }
        ctx->prev_min = now_min;
        return false; // do not fire on the exact minute of day rollover
    }

    // Minute edge?
    if (now_min == ctx->prev_min) return false;
    const int prev = ctx->prev_min;
    ctx->prev_min = now_min;

    if (ctx->cur_day_idx < 0 || ctx->next_cursor >= 5) return false;

    // POLICY A: if multiple events were skipped, fire only the earliest missed once.
    uint8_t i = ctx->next_cursor;
    if ((int)ctx->today_min[i] <= now_min) {
        // Fire if it is exactly now, or if it was missed in (prev..now].
        if ((int)ctx->today_min[i] > prev) {
            if (out_prayer)  *out_prayer = i;
            if (out_on_sec)  *out_on_sec = ctx->H.default_on_sec[i];
            ctx->next_cursor = (i+1u);
            return true;
        } else {
            // It was already <= prev (very large jump), advance cursor and do not fire now.
            while (ctx->next_cursor < 5 && (int)ctx->today_min[ctx->next_cursor] <= now_min) {
                ctx->next_cursor++;
            }
            return false;
        }
    }
    return false;
}




// ---- core dumper: print one specific YEAR+MONTH ----
static void debug_print_month_from_bin(const uint8_t *file_buf, size_t file_len,
                                int target_year, int target_month)
{
    char line[200];
    if (target_month < 1 || target_month > 12) {
        snprintf(line, sizeof(line), "Month %d invalid (1-12)\r\n", target_month);
        print_uart(line);
        return;
    }

    pray2_header_t H;
    pray2_status_t st = pray2_validate_and_parse_no_crc(file_buf, file_len, &H);
    if (st != PRAY2_OK) {
        snprintf(line, sizeof(line), "PRAY2 parse error %d\r\n", (int)st);
        print_uart(line);
        return;
    }

    int y = H.year, m = H.start_month, d = H.start_day;
    int printed = 0;

    snprintf(line, sizeof(line),
             "PRAY2 OK. SpanStart=%04d-%02d-%02d Days=%u  => Printing %04d-%02d\r\n",
             y, m, d, (unsigned)H.days, target_year, target_month);
    print_uart(line);

    for (uint32_t idx = 0; idx < H.days; ++idx) {
        if (y == target_year && m == target_month) {
            uint16_t mins[5];
            if (pray2_get_day_minutes(&H, (uint16_t)idx, mins)) {
                int Fh = mins[0]/60, Fm = mins[0]%60;
                int Dh = mins[1]/60, Dm = mins[1]%60;
                int Ah = mins[2]/60, Am = mins[2]%60;
                int Mh = mins[3]/60, Mm = mins[3]%60;
                int Ih = mins[4]/60, Im = mins[4]%60;
                snprintf(line, sizeof(line),
                         "%04d-%02d-%02d  Fajr %02d:%02d  Dhuhr %02d:%02d  Asr %02d:%02d  Maghrib %02d:%02d  Isha %02d:%02d\r\n",
                         y, m, d, Fh, Fm, Dh, Dm, Ah, Am, Mh, Mm, Ih, Im);
                print_uart(line);
                printed++;
            } else {
                snprintf(line, sizeof(line),
                         "%04d-%02d-%02d  ERROR: idx %lu\r\n",
                         y, m, d, (unsigned long)idx);
                print_uart(line);
            }
        }
        advance_one_day(&y, &m, &d);
    }

    if (printed == 0) {
        snprintf(line, sizeof(line),
                 "No dates for %04d-%02d within this file span.\r\n",
                 target_year, target_month);
        print_uart(line);
    } else {
        snprintf(line, sizeof(line),
                 "Printed %d day(s) for %04d-%02d.\r\n",
                 printed, target_year, target_month);
        print_uart(line);
    }
}

// ---- convenience wrapper: print ALL occurrences of a month across the span ----
static void debug_print_month_any_year(const uint8_t *file_buf, size_t file_len,
                                int target_month)
{
    char line[200];
    if (target_month < 1 || target_month > 12) {
        snprintf(line, sizeof(line), "Month %d invalid (1-12)\r\n", target_month);
        print_uart(line);
        return;
    }

    pray2_header_t H;
    pray2_status_t st = pray2_validate_and_parse_no_crc(file_buf, file_len, &H);
    if (st != PRAY2_OK) {
        snprintf(line, sizeof(line), "PRAY2 parse error %d\r\n", (int)st);
        print_uart(line);
        return;
    }

    int y = H.year, m = H.start_month, d = H.start_day;
    int printed = 0;

    snprintf(line, sizeof(line),
             "PRAY2 OK. SpanStart=%04d-%02d-%02d Days=%u  => Printing all %s (%02d)\r\n",
             y, m, d, (unsigned)H.days,
             (const char*[]){"Jan","Feb","Mar","Apr","May","Jun","Jul","Aug","Sep","Oct","Nov","Dec"}[target_month-1],
             target_month);
    print_uart(line);

    for (uint32_t idx = 0; idx < H.days; ++idx) {
        if (m == target_month) {
            uint16_t mins[5];
            if (pray2_get_day_minutes(&H, (uint16_t)idx, mins)) {
                int Fh = mins[0]/60, Fm = mins[0]%60;
                int Dh = mins[1]/60, Dm = mins[1]%60;
                int Ah = mins[2]/60, Am = mins[2]%60;
                int Mh = mins[3]/60, Mm = mins[3]%60;
                int Ih = mins[4]/60, Im = mins[4]%60;
                snprintf(line, sizeof(line),
                         "%04d-%02d-%02d  Fajr %02d:%02d  Dhuhr %02d:%02d  Asr %02d:%02d  Maghrib %02d:%02d  Isha %02d:%02d\r\n",
                         y, m, d, Fh, Fm, Dh, Dm, Ah, Am, Mh, Mm, Ih, Im);
                print_uart(line);
                printed++;
            } else {
                snprintf(line, sizeof(line),
                         "%04d-%02d-%02d  ERROR: idx %lu\r\n",
                         y, m, d, (unsigned long)idx);
                
                         print_uart(line);
            }
        }
        advance_one_day(&y, &m, &d);
    }

    if (printed == 0) {
        snprintf(line, sizeof(line),
                 "No dates for month %02d within this file span.\r\n",
                 target_month);
        print_uart(line);
    } else {
        snprintf(line, sizeof(line),
                 "Printed %d day(s) for month %02d.\r\n",
                 printed, target_month);
        print_uart(line);
    }
}

#endif // PRAY2_SCHED_H
```

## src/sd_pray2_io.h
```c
// sd_pray2_io.h
#pragma once
#include <zephyr/fs/fs.h>
#include <ff.h>
#include <stddef.h>
#include <stdint.h>

#ifndef PRAY2_FLAG_RTC_ONE_SHOT
#define PRAY2_FLAG_RTC_ONE_SHOT 0x10  // header flags bit4
#endif


int mount_sd_card(void);

// Find the single .bin file in root (e.g. "/SD:") and return full path "/SD:/xxx.bin".
// Returns 0 on success; negative errno or Zephyr FS error otherwise.
int sd_find_single_bin(const char *root, char *out_path, size_t out_len);

// Read entire file into RAM buffer. Sets *out_len.
// Returns 0 on success; negative errno/FS error otherwise.
int sd_load_entire_file(const char *path, uint8_t *buf, size_t max_len, size_t *out_len);

// Clear one-shot flag (bit 0x10) at header offset 14 in the file on SD.
// Safe to call even if bit already clear.
// Returns 0 on success; negative errno/FS error otherwise.
int sd_clear_oneshot_flag_in_file(const char *path);


int sd_store_pray2_from_ram(const char *root,
                            const uint8_t *data, size_t len,
                            char *out_path, size_t out_len);
```

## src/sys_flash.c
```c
/**
 * @file sys_flash.c
 * @brief Flash memory management for the application.
 * 
 * This header file defines the interfaces and constants for interacting 
 * with the system's flash memory, including read, write, and erase operations.
 * 
 * @author Haseeb Zaib
 * @date December 19, 2024
 * @contact hzaib76@gmail.com
 */

#include "sys_flash.h"
#include <zephyr/drivers/flash.h>
#include <zephyr/storage/flash_map.h>
#include <zephyr/device.h>
#include <zephyr/devicetree.h>

/* Flash partition and device definitions */
#define TEST_PARTITION              storage_partition
#define TEST_PARTITION_OFFSET	FIXED_PARTITION_OFFSET(TEST_PARTITION)
#define TEST_PARTITION_DEVICE	FIXED_PARTITION_DEVICE(TEST_PARTITION)

/* Flash configuration constants */
#define FLASH_PAGE_SIZE             4096


const struct device *flash_dev;

/**
 * @brief Erases a portion of the flash memory.
 * 
 * This function erases a specific region of the flash memory, starting at the
 * given offset and covering the specified size. The operation is performed on
 * the partition defined by `TEST_PARTITION`.
 * 
 * @param offset Offset from the start of the partition to erase.
 * @param size Size of the memory region to erase (in bytes).
 * @return sys_flash_ok if successful, sys_flash_err if an error occurred.
 */
enum sys_flash_status sys_flash_erase(uint32_t offset, uint32_t size)
{
    enum sys_flash_status stat = sys_flash_ok;

    uint32_t flashOffset = TEST_PARTITION_OFFSET + offset;

    /* Attempt to erase the specified region */
    if (flash_erase(flash_dev, flashOffset, FLASH_PAGE_SIZE) != 0) {
        
        stat = sys_flash_err;
        goto common;
    }

common:
    return stat;
}

/**
 * @brief Reads data from the flash memory.
 * 
 * This function reads a specified amount of data from the flash memory,
 * starting at the given offset within the `TEST_PARTITION`.
 * 
 * @param offset Offset from the start of the partition to read from.
 * @param data Pointer to the buffer where the read data will be stored.
 * @param size Number of bytes to read.
 * @return sys_flash_ok if successful, sys_flash_err if an error occurred.
 */
enum sys_flash_status sys_flash_read(uint32_t offset, void *data, uint32_t size)
{
    enum sys_flash_status stat = sys_flash_ok;

    uint32_t flashOffset = TEST_PARTITION_OFFSET + offset;

    /* Attempt to read the specified data */
    if (flash_read(flash_dev, flashOffset, data, size) != 0) {
        
        stat = sys_flash_err;
        goto common;
    }

common:
    return stat;
}

/**
 * @brief Writes data to the flash memory.
 * 
 * This function writes a specified amount of data to the flash memory,
 * starting at the given offset within the `TEST_PARTITION`. Before writing,
 * it ensures the region is erased by calling `sys_flash_erase`.
 * 
 * @param offset Offset from the start of the partition to write to.
 * @param data Pointer to the data to be written.
 * @param size Number of bytes to write.
 * @return sys_flash_ok if successful, sys_flash_err if an error occurred.
 */
enum sys_flash_status sys_flash_write(uint32_t offset, void *data, uint32_t size)
{
    enum sys_flash_status stat = sys_flash_ok;

    uint32_t flashOffset = TEST_PARTITION_OFFSET + offset;

    /* Ensure the region is erased before writing */
    sys_flash_erase(offset, size);

    /* Attempt to write the specified data */
    if (flash_write(flash_dev, flashOffset, data, size) != 0) {
        
        stat = sys_flash_err;
        goto common;
    }

common:
    return stat;
}

/**
 * @brief Initializes the flash memory device.
 * 
 * This function initializes the flash memory device by retrieving the
 * device associated with the `TEST_PARTITION`. It verifies the device is
 * ready for use.
 * 
 * @return sys_flash_ok if successful, sys_flash_err if the device is not ready.
 */
enum sys_flash_status sys_flash_init()
{
    enum sys_flash_status stat = sys_flash_ok;
    flash_dev = TEST_PARTITION_DEVICE;



    /* Check if the flash device is ready */
    if (!device_is_ready(flash_dev)) {
        
        stat = sys_flash_err;
        goto common;
    }

common:
    return stat;
}
```

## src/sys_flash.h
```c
/**
 * @file sys_flash.h
 * @brief Flash memory management for the application.
 * 
 * This header file defines the interfaces and constants for interacting 
 * with the system's flash memory, including read, write, and erase operations.
 * 
 * @author Haseeb Zaib
 * @date December 19, 2024
 * @contact hzaib76@gmail.com
 */

#ifndef _SYS_FLASH_H_
#define _SYS_FLASH_H_

#include <zephyr/kernel.h>


/**
 * @brief Enum for flash operation status.
 */
enum sys_flash_status {
  sys_flash_ok = 0, /**< Operation successful */
  sys_flash_err     /**< Operation failed */
};





/* Function declarations */
extern enum sys_flash_status sys_flash_erase(uint32_t offset, uint32_t size);
extern enum sys_flash_status sys_flash_read(uint32_t offset, void *data, uint32_t size);
extern enum sys_flash_status sys_flash_write(uint32_t offset, void *data, uint32_t size);
extern enum sys_flash_status sys_flash_init();



#endif /* _SYS_FLASH_H_ */
```
